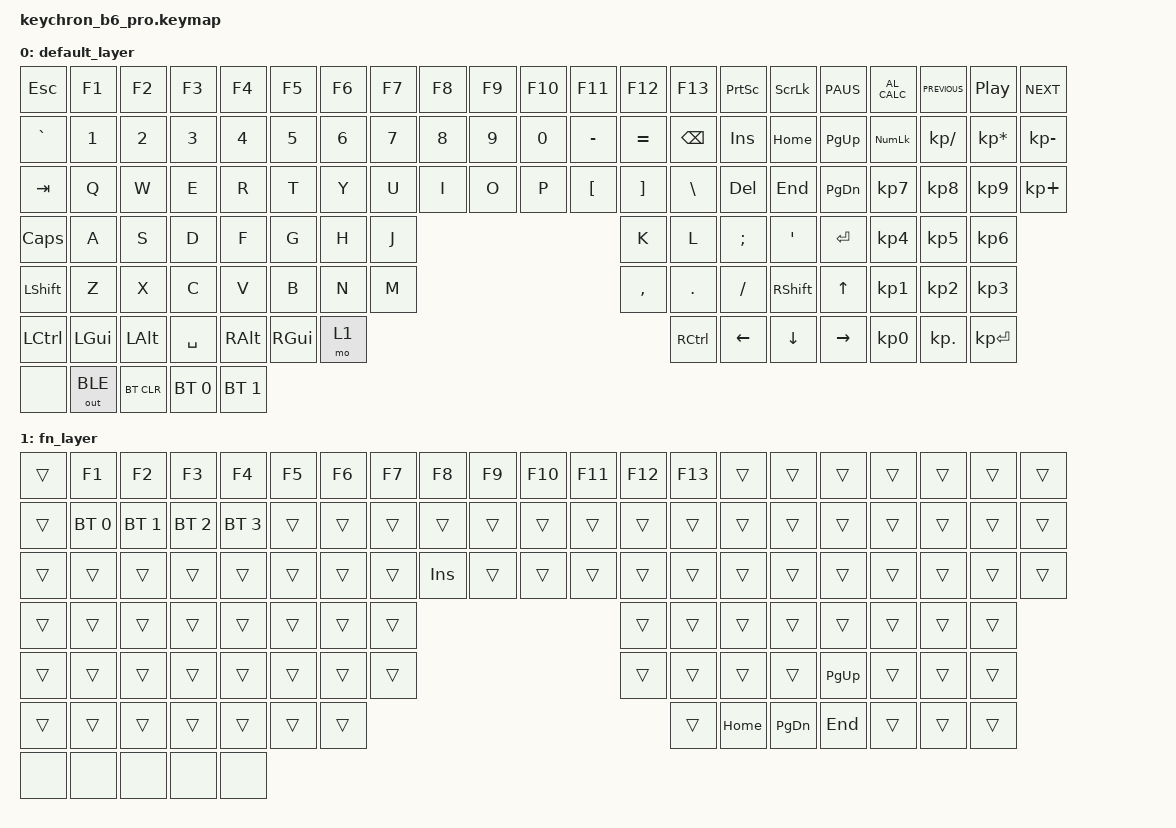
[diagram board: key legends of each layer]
#include <behaviors.dtsi>
#include <dt-bindings/zmk/bt.h>
#include <dt-bindings/zmk/keys.h>

/ {
    keymap {
        compatible = "zmk,keymap";

        default_layer {
            bindings = <
                &kp ESC    &kp F1      &kp F2      &kp F3      &kp F4      &kp F5      &kp F6      &kp F7      &kp F8      &kp F9      &kp F10     &kp F11     &kp F12     &kp F13     &kp PSCRN   &kp SLCK    &kp PAUS    &kp C_AL_CALC  &kp C_PREVIOUS   &kp C_PLAY_PAUSE &kp C_NEXT
                &kp GRAVE  &kp N1      &kp N2      &kp N3      &kp N4      &kp N5      &kp N6      &kp N7      &kp N8      &kp N9      &kp N0      &kp MINUS   &kp EQUAL   &kp BSPC    &kp INS     &kp HOME    &kp PG_UP   &kp KP_NUM      &kp KP_SLASH     &kp KP_ASTERISK  &kp KP_MINUS
                &kp TAB    &kp Q       &kp W       &kp E       &kp R       &kp T       &kp Y       &kp U       &kp I       &kp O       &kp P       &kp LBKT    &kp RBKT    &kp BSLH    &kp DEL     &kp END     &kp PG_DN   &kp KP_N7       &kp KP_N8        &kp KP_N9        &kp KP_PLUS
                &kp CAPS   &kp A       &kp S       &kp D       &kp F       &kp G       &kp H       &kp J       &kp K       &kp L       &kp SEMI    &kp SQT                 &kp RET                                          &kp KP_N4       &kp KP_N5        &kp KP_N6
                &kp LSHFT             &kp Z       &kp X       &kp C       &kp V       &kp B       &kp N       &kp M       &kp COMMA   &kp DOT     &kp FSLH                &kp RSHFT                &kp UP                 &kp KP_N1       &kp KP_N2        &kp KP_N3
                &kp LCTRL  &kp LGUI    &kp LALT                           &kp SPACE                           &kp RALT    &kp RGUI                &mo 1       &kp RCTRL   &kp LEFT    &kp DOWN    &kp RIGHT   &kp KP_N0                      &kp KP_DOT      &kp KP_ENTER
                &none      &out OUT_BLE &bt BT_CLR   &bt BT_SEL 0 &bt BT_SEL 1
            >;
        };

        fn_layer {
            bindings = <
                &trans     &kp F1      &kp F2      &kp F3      &kp F4      &kp F5      &kp F6      &kp F7      &kp F8      &kp F9      &kp F10     &kp F11     &kp F12     &kp F13     &trans      &trans      &trans      &trans          &trans           &trans            &trans
                &trans     &bt BT_SEL 0 &bt BT_SEL 1 &bt BT_SEL 2 &bt BT_SEL 3 &trans      &trans      &trans      &trans      &trans      &trans      &trans      &trans      &trans      &trans      &trans      &trans      &trans          &trans           &trans            &trans
                &trans     &trans      &trans      &trans      &trans      &trans      &trans      &trans      &kp INS     &trans      &trans      &trans      &trans      &trans      &trans      &trans      &trans      &trans          &trans           &trans            &trans
                &trans     &trans      &trans      &trans      &trans      &trans      &trans      &trans      &trans      &trans      &trans      &trans                  &trans                                           &trans          &trans           &trans
                &trans                &trans      &trans      &trans      &trans      &trans      &trans      &trans      &trans      &trans      &trans                  &trans                 &kp PG_UP              &trans          &trans           &trans
                &trans     &trans      &trans                             &trans                              &trans      &trans                  &trans      &trans      &kp HOME    &kp PG_DN   &kp END     &trans                         &trans          &trans
                &none      &none       &none       &none       &none
            >;
        };
    };
};
